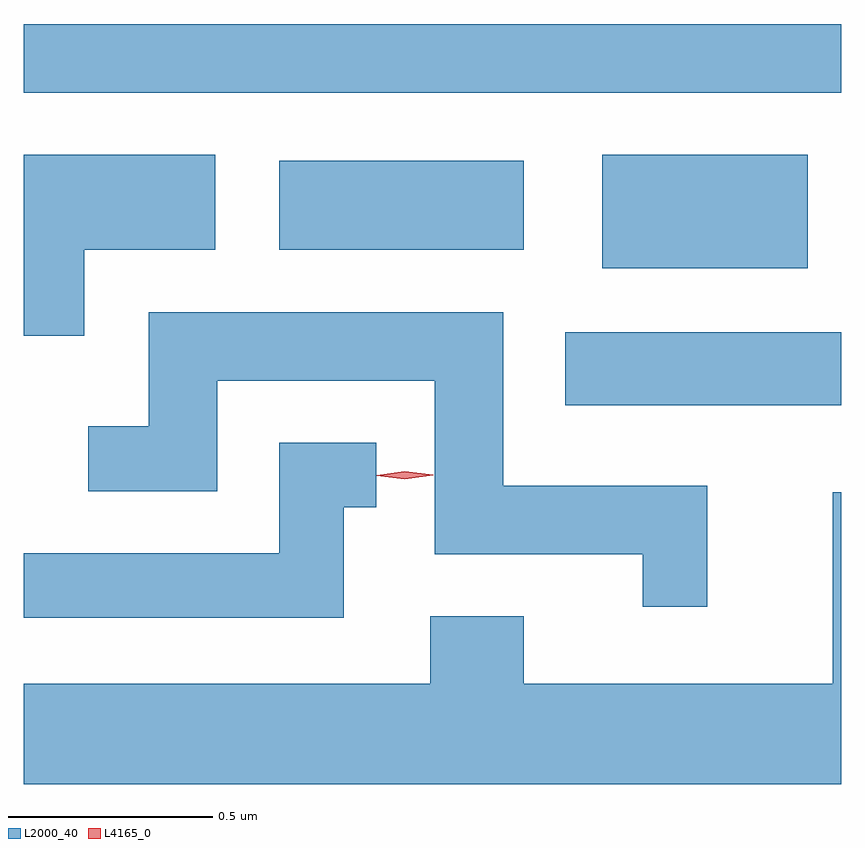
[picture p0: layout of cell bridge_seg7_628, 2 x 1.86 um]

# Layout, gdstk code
import gdstk
lib = gdstk.Library(unit=1e-6, precision=1e-09)
def R(c, l, rs):  # rectangles x0, y0, x1, y1
    for r in rs: c.add(gdstk.rectangle(r[:2], r[2:], *l))
def P(c, l, *ps):  # polygons
    for p in ps: c.add(gdstk.Polygon(p, *l))
L2000_40 = (2000, 40)
L4165_0 = (4165, 0)

bridge_seg7_628 = lib.new_cell('bridge_seg7_628')
R(bridge_seg7_628, L2000_40, [(825.771,1719.706,826.446,1719.884), (825.861,1720.041,826.364,1720.319), (825.071,1720.086,825.669,1720.304), (824.446,1720.471,826.446,1720.639)])
P(bridge_seg7_628, L2000_40, [(824.594,1720.086),(824.914,1720.086),(824.914,1720.319),(824.446,1720.319),(824.446,1719.876),(824.594,1719.876)],
  [(826.119,1719.509),(825.619,1719.509),(825.619,1719.934),(824.751,1719.934),(824.751,1719.654),(824.603,1719.654),(824.603,1719.496),(824.919,1719.496),(824.919,1719.766),(825.451,1719.766),(825.451,1719.341),(825.961,1719.341),(825.961,1719.213),(826.119,1719.213)],
  [(825.229,1719.456),(825.308,1719.456),(825.308,1719.614),(825.071,1719.614),(825.071,1719.344),(824.446,1719.344),(824.446,1719.186),(825.229,1719.186)],
  [(826.446,1719.493),(826.426,1719.493),(826.426,1719.024),(825.669,1719.024),(825.669,1719.189),(825.441,1719.189),(825.441,1719.024),(824.446,1719.024),(824.446,1718.779),(826.446,1718.779)])
P(bridge_seg7_628, L4165_0, [(825.378,1719.525),(825.309,1719.534),(825.309,1719.535),(825.309,1719.535),(825.378,1719.545),(825.448,1719.536),(825.448,1719.536),(825.448,1719.535)])

lib.write_gds('bridge_seg7_628.gds')
